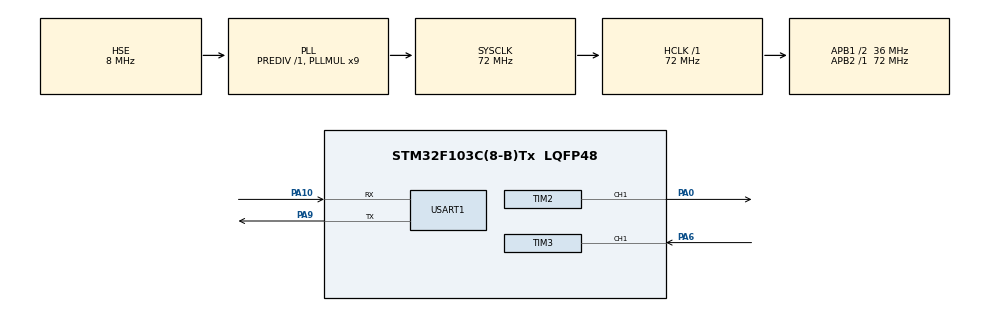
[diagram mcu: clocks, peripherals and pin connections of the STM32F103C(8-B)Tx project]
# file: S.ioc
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Mcu.Family=STM32F1
Mcu.Name=STM32F103C(8-B)Tx
Mcu.Package=LQFP48
NVIC.PriorityGroup=NVIC_PRIORITYGROUP_4
NVIC.TIM2_IRQn=true\:0\:0\:false\:false\:true\:true\:true\:true
PA0-WKUP.Signal=S_TIM2_CH1_ETR
PA10.Mode=Asynchronous
PA10.Signal=USART1_RX
PA6.Signal=S_TIM3_CH1
PA9.Mode=Asynchronous
PA9.Signal=USART1_TX
PD0-OSC_IN.Mode=HSE-External-Oscillator
PD0-OSC_IN.Signal=RCC_OSC_IN
PD1-OSC_OUT.Mode=HSE-External-Oscillator
PD1-OSC_OUT.Signal=RCC_OSC_OUT
ProjectManager.HeapSize=0x200
ProjectManager.StackSize=0x400
ProjectManager.TargetToolchain=STM32CubeIDE
RCC.AHBFreq_Value=72000000
RCC.APB1CLKDivider=RCC_HCLK_DIV2
RCC.APB1Freq_Value=36000000
RCC.APB1TimFreq_Value=72000000
RCC.APB2Freq_Value=72000000
RCC.APB2TimFreq_Value=72000000
RCC.HCLKFreq_Value=72000000
RCC.PLLMUL=RCC_PLL_MUL9
RCC.PLLSourceVirtual=RCC_PLLSOURCE_HSE
RCC.SYSCLKFreq_VALUE=72000000
RCC.SYSCLKSource=RCC_SYSCLKSOURCE_PLLCLK
RCC.USBFreq_Value=72000000
SH.S_TIM2_CH1_ETR.0=TIM2_CH1,PWM Generation1 CH1
SH.S_TIM3_CH1.0=TIM3_CH1,Input_Capture1_from_TI1
SH.S_TIM3_CH1.1=TIM3_CH1,TriggerSource_TI1FP1
TIM2.Channel-PWM\ Generation1\ CH1=TIM_CHANNEL_1
TIM2.Period=999
TIM2.Prescaler=71
TIM2.Pulse-PWM\ Generation1\ CH1=400
TIM3.Channel-Input_Capture1_from_TI1=TIM_CHANNEL_1
TIM3.Channel-Input_Capture2_from_TI1_63=TIM_CHANNEL_2
TIM3.Prescaler=71
TIM3.TIM_MasterSlaveMode=TIM_MASTERSLAVEMODE_DISABLE
USART1.VirtualMode=VM_ASYNC
VP_SYS_VS_ND.Mode=No_Debug
VP_TIM2_VS_ClockSourceINT.Mode=Internal
VP_TIM3_VS_ControllerModeReset.Mode=Reset Mode
VP_TIM3_VS_indirect_ch1.Mode=Input_Capture2_from_TI1_63
board=custom

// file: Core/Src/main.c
/* USER CODE BEGIN Header */
/**
  ******************************************************************************
  * @file           : main.c
  * @brief          : Main program body
  ******************************************************************************
  * @attention
  *
  * Copyright (c) 2026 STMicroelectronics.
  * All rights reserved.
  *
  * This software is licensed under terms that can be found in the LICENSE file
  * in the root directory of this software component.
  * If no LICENSE file comes with this software, it is provided AS-IS.
  *
  ******************************************************************************
  */
/* USER CODE END Header */
#include "main.h"

/* USER CODE BEGIN Includes */
#include <string.h>
#include <stdio.h>
/* USER CODE END Includes */

TIM_HandleTypeDef htim2;
TIM_HandleTypeDef htim3;

UART_HandleTypeDef huart1;

/* USER CODE BEGIN PV */
uint8_t servo_pos = 0;
/* USER CODE END PV */

void SystemClock_Config(void);
static void MX_GPIO_Init(void);
static void MX_USART1_UART_Init(void);
static void MX_TIM2_Init(void);
static void MX_TIM3_Init(void);

int main(void)
{

  /* MCU Configuration--------------------------------------------------------*/

  /* Reset of all peripherals, Initializes the Flash interface and the Systick. */
  HAL_Init();

  /* Configure the system clock */
  SystemClock_Config();

  /* Initialize all configured peripherals */
  MX_GPIO_Init();
  MX_USART1_UART_Init();
  MX_TIM2_Init();
  MX_TIM3_Init();
  /* USER CODE BEGIN 2 */
  HAL_TIM_PWM_Start(&htim2, TIM_CHANNEL_1);
  HAL_TIM_IC_Start(&htim3, TIM_CHANNEL_1);
  HAL_TIM_IC_Start(&htim3, TIM_CHANNEL_2);

  /* USER CODE END 2 */

  /* Infinite loop */
  while (1)
  {

    /* USER CODE BEGIN 3 */
	  while (__HAL_TIM_GET_FLAG(&htim3, TIM_FLAG_CC1) == RESET);
	  __HAL_TIM_CLEAR_FLAG(&htim3, TIM_FLAG_CC1);

	  uint32_t period     = HAL_TIM_ReadCapturedValue(&htim3, TIM_CHANNEL_1);
	  uint32_t pulseWidth = HAL_TIM_ReadCapturedValue(&htim3, TIM_CHANNEL_2);

	  if (period > 0)
	          {
	              float timerClock = 1000000.0f;  // 72MHz / (PSC+1) = 1MHz
	              float frequency  = timerClock / (float)period;
	              float dutyCycle  = (pulseWidth * 100.0f) / (float)period;
	              char buffer[50];
	              int len = sprintf(buffer, "Freq: %.2f Hz | Duty: %.2f %%\r\n", frequency, dutyCycle);
	              HAL_UART_Transmit(&huart1, (uint8_t*)buffer, len, HAL_MAX_DELAY);

	          }
	  HAL_Delay(500);

  }
  /* USER CODE END 3 */
}

void SystemClock_Config(void)
{
  RCC_OscInitTypeDef RCC_OscInitStruct = {0};
  RCC_ClkInitTypeDef RCC_ClkInitStruct = {0};

  /** Initializes the RCC Oscillators according to the specified parameters
  * in the RCC_OscInitTypeDef structure.
  */
  RCC_OscInitStruct.OscillatorType = RCC_OSCILLATORTYPE_HSE;
  RCC_OscInitStruct.HSEState = RCC_HSE_ON;
  RCC_OscInitStruct.HSEPredivValue = RCC_HSE_PREDIV_DIV1;
  RCC_OscInitStruct.HSIState = RCC_HSI_ON;
  RCC_OscInitStruct.PLL.PLLState = RCC_PLL_ON;
  RCC_OscInitStruct.PLL.PLLSource = RCC_PLLSOURCE_HSE;
  RCC_OscInitStruct.PLL.PLLMUL = RCC_PLL_MUL9;
  if (HAL_RCC_OscConfig(&RCC_OscInitStruct) != HAL_OK)
  {
    Error_Handler();
  }

  /** Initializes the CPU, AHB and APB buses clocks
  */
  RCC_ClkInitStruct.ClockType = RCC_CLOCKTYPE_HCLK|RCC_CLOCKTYPE_SYSCLK
                              |RCC_CLOCKTYPE_PCLK1|RCC_CLOCKTYPE_PCLK2;
  RCC_ClkInitStruct.SYSCLKSource = RCC_SYSCLKSOURCE_PLLCLK;
  RCC_ClkInitStruct.AHBCLKDivider = RCC_SYSCLK_DIV1;
  RCC_ClkInitStruct.APB1CLKDivider = RCC_HCLK_DIV2;
  RCC_ClkInitStruct.APB2CLKDivider = RCC_HCLK_DIV1;

  if (HAL_RCC_ClockConfig(&RCC_ClkInitStruct, FLASH_LATENCY_2) != HAL_OK)
  {
    Error_Handler();
  }
}

static void MX_TIM2_Init(void)
{

  TIM_ClockConfigTypeDef sClockSourceConfig = {0};
  TIM_MasterConfigTypeDef sMasterConfig = {0};
  TIM_OC_InitTypeDef sConfigOC = {0};

  htim2.Instance = TIM2;
  htim2.Init.Prescaler = 71;
  htim2.Init.CounterMode = TIM_COUNTERMODE_UP;
  htim2.Init.Period = 999;
  htim2.Init.ClockDivision = TIM_CLOCKDIVISION_DIV1;
  htim2.Init.AutoReloadPreload = TIM_AUTORELOAD_PRELOAD_DISABLE;
  if (HAL_TIM_Base_Init(&htim2) != HAL_OK)
  {
    Error_Handler();
  }
  sClockSourceConfig.ClockSource = TIM_CLOCKSOURCE_INTERNAL;
  if (HAL_TIM_ConfigClockSource(&htim2, &sClockSourceConfig) != HAL_OK)
  {
    Error_Handler();
  }
  if (HAL_TIM_PWM_Init(&htim2) != HAL_OK)
  {
    Error_Handler();
  }
  sMasterConfig.MasterOutputTrigger = TIM_TRGO_RESET;
  sMasterConfig.MasterSlaveMode = TIM_MASTERSLAVEMODE_DISABLE;
  if (HAL_TIMEx_MasterConfigSynchronization(&htim2, &sMasterConfig) != HAL_OK)
  {
    Error_Handler();
  }
  sConfigOC.OCMode = TIM_OCMODE_PWM1;
  sConfigOC.Pulse = 400;
  sConfigOC.OCPolarity = TIM_OCPOLARITY_HIGH;
  sConfigOC.OCFastMode = TIM_OCFAST_DISABLE;
  if (HAL_TIM_PWM_ConfigChannel(&htim2, &sConfigOC, TIM_CHANNEL_1) != HAL_OK)
  {
    Error_Handler();
  }
  HAL_TIM_MspPostInit(&htim2);

}

static void MX_TIM3_Init(void)
{

  TIM_SlaveConfigTypeDef sSlaveConfig = {0};
  TIM_MasterConfigTypeDef sMasterConfig = {0};
  TIM_IC_InitTypeDef sConfigIC = {0};

  htim3.Instance = TIM3;
  htim3.Init.Prescaler = 71;
  htim3.Init.CounterMode = TIM_COUNTERMODE_UP;
  htim3.Init.Period = 65535;
  htim3.Init.ClockDivision = TIM_CLOCKDIVISION_DIV1;
  htim3.Init.AutoReloadPreload = TIM_AUTORELOAD_PRELOAD_DISABLE;
  if (HAL_TIM_Base_Init(&htim3) != HAL_OK)
  {
    Error_Handler();
  }
  if (HAL_TIM_IC_Init(&htim3) != HAL_OK)
  {
    Error_Handler();
  }
  sSlaveConfig.SlaveMode = TIM_SLAVEMODE_RESET;
  sSlaveConfig.InputTrigger = TIM_TS_TI1FP1;
  sSlaveConfig.TriggerPolarity = TIM_INPUTCHANNELPOLARITY_RISING;
  sSlaveConfig.TriggerFilter = 0;
  if (HAL_TIM_SlaveConfigSynchro(&htim3, &sSlaveConfig) != HAL_OK)
  {
    Error_Handler();
  }
  sMasterConfig.MasterOutputTrigger = TIM_TRGO_RESET;
  sMasterConfig.MasterSlaveMode = TIM_MASTERSLAVEMODE_DISABLE;
  if (HAL_TIMEx_MasterConfigSynchronization(&htim3, &sMasterConfig) != HAL_OK)
  {
    Error_Handler();
  }
  sConfigIC.ICPolarity = TIM_INPUTCHANNELPOLARITY_RISING;
  sConfigIC.ICSelection = TIM_ICSELECTION_DIRECTTI;
  sConfigIC.ICPrescaler = TIM_ICPSC_DIV1;
  sConfigIC.ICFilter = 0;
  if (HAL_TIM_IC_ConfigChannel(&htim3, &sConfigIC, TIM_CHANNEL_1) != HAL_OK)
  {
    Error_Handler();
  }
  sConfigIC.ICPolarity  = TIM_INPUTCHANNELPOLARITY_FALLING;
  sConfigIC.ICSelection = TIM_ICSELECTION_INDIRECTTI;
  if (HAL_TIM_IC_ConfigChannel(&htim3, &sConfigIC, TIM_CHANNEL_2) != HAL_OK)
  {
    Error_Handler();
  }

}

static void MX_USART1_UART_Init(void)
{

  huart1.Instance = USART1;
  huart1.Init.BaudRate = 115200;
  huart1.Init.WordLength = UART_WORDLENGTH_8B;
  huart1.Init.StopBits = UART_STOPBITS_1;
  huart1.Init.Parity = UART_PARITY_NONE;
  huart1.Init.Mode = UART_MODE_TX_RX;
  huart1.Init.HwFlowCtl = UART_HWCONTROL_NONE;
  huart1.Init.OverSampling = UART_OVERSAMPLING_16;
  if (HAL_UART_Init(&huart1) != HAL_OK)
  {
    Error_Handler();
  }

}

static void MX_GPIO_Init(void)
{

  /* GPIO Ports Clock Enable */
  __HAL_RCC_GPIOD_CLK_ENABLE();
  __HAL_RCC_GPIOA_CLK_ENABLE();

}

void Error_Handler(void)
{
  __disable_irq();
  while (1) {}
}
